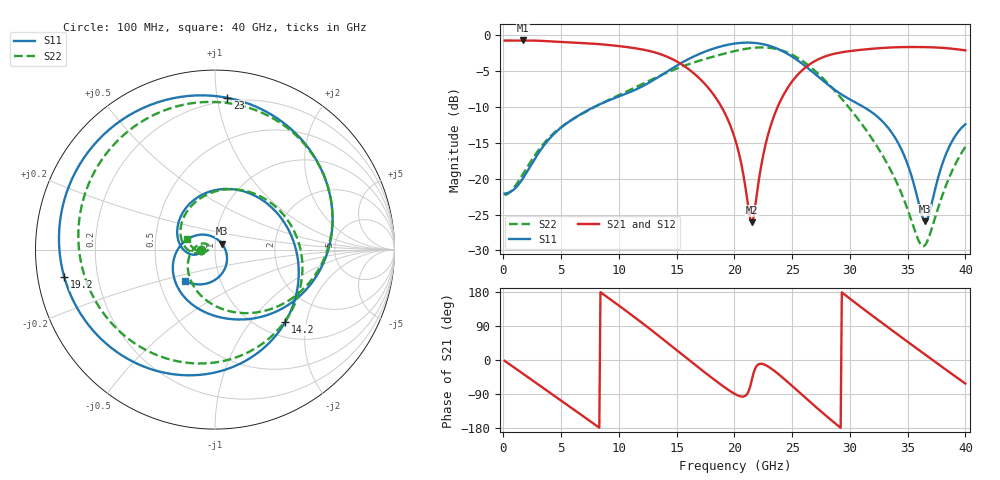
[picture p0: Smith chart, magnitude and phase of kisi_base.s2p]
! B_s8_L1L3_stub_d300: L1→L3, through via (stub to L8), drill Ø0.3
! stackup: 8-layer 1.6 mm FR-4 (generic)
! ports: 1, 2
! kisi-fdtd, conformal, dfine 0.035 mm, 637065 cells
# Hz S RI R 50
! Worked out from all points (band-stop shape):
!   400 points, 100 MHz to 40 GHz, reference 50 ohm
!   highest |S21| = -0.69 dB at 1.7 GHz (marker M1); lowest = -26.1 dB at 21.5 GHz (marker M2)
!   |S21| within 3 dB of the highest: start of sweep to 15.08 GHz; 26.83 GHz to end of sweep
!   lowest |S11| = -25.9 dB at 36.5 GHz (marker M3), VSWR 1.11, Z = 53.9 + j3.55 ohm
!   |S11| at or under -10 dB: start of sweep to 7.818 GHz; 31.21 GHz to end of sweep
!   |S22| runs from -29.4 to -1.7 dB; largest |S21 - S12| = 3.1e-06
!   S11 on the Smith chart (normalised r, x): 100 MHz: 0.85, -0.00; 14.2 GHz: 1.29, -1.51; 19.2 GHz: 0.08, -0.09; 23 GHz: 0.18, +1.07; 40 GHz: 0.68, -0.25
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1e8  -0.0788 -0.00144  0.9214 -0.0342  0.9214 -0.0342  -0.077 -0.0017
1.7e9  -0.0979 -0.0248  0.744 -0.547  0.744 -0.547  -0.1064 -0.0197
4.2e9  -0.1966 0.0308  -0.00502 -0.909  -0.00502 -0.9089  -0.1901 0.0701
6.8e9  -0.1559 0.2393  -0.7349 -0.4942  -0.7349 -0.4942  -0.1153 0.2595
9.5e9  0.1625 0.3239  -0.7703 0.3646  -0.7703 0.3646  0.1658 0.328
1.15e10  0.4029 0.1227  -0.2721 0.7658  -0.2721 0.7658  0.4068 0.161
1.34e10  0.4565 -0.2313  0.3194 0.6784  0.3194 0.6784  0.4773 -0.1996
1.42e10  0.392 -0.4025  0.4982 0.5052  0.4982 0.5052  0.4053 -0.376
1.68e10  -0.2408 -0.6933  0.4926 -0.1575  0.4926 -0.1575  -0.2434 -0.6142
1.92e10  -0.8394 -0.1548  0.0825 -0.2714  0.0825 -0.2714  -0.7465 -0.0713
2.01e10  -0.8571 0.2  -0.0021 -0.1842  -0.0021 -0.1842  -0.7442 0.2379
2.15e10  -0.5552 0.6964  0.0295 -0.04  0.0295 -0.04  -0.482 0.6613
2.3e10  0.0682 0.8459  0.2038 -0.0692  0.2038 -0.0692  0.0456 0.8195
2.48e10  0.6163 0.3886  0.206 -0.4051  0.206 -0.4051  0.5774 0.4744
2.67e10  0.5244 -0.2038  -0.2681 -0.5857  -0.2681 -0.5857  0.5843 -0.0987
2.84e10  0.2007 -0.3854  -0.6886 -0.2633  -0.6886 -0.2633  0.2694 -0.343
2.98e10  -0.0136 -0.3654  -0.7537 0.18  -0.7537 0.18  0.0197 -0.3225
3.18e10  -0.2088 -0.2084  -0.4055 0.6972  -0.4055 0.6972  -0.1479 -0.1298
3.34e10  -0.2206 -0.0258  0.0873 0.8193  0.0873 0.8193  -0.1204 0.00297
3.65e10  0.0382 0.0329  0.8029 0.2093  0.8029 0.2093  -0.0341 0.00425
3.81e10  0.0434 -0.1266  0.7654 -0.2918  0.7653 -0.2918  -0.0797 -0.0122
4e10  -0.1644 -0.1755  0.367 -0.6969  0.367 -0.6969  -0.1555 0.0612
